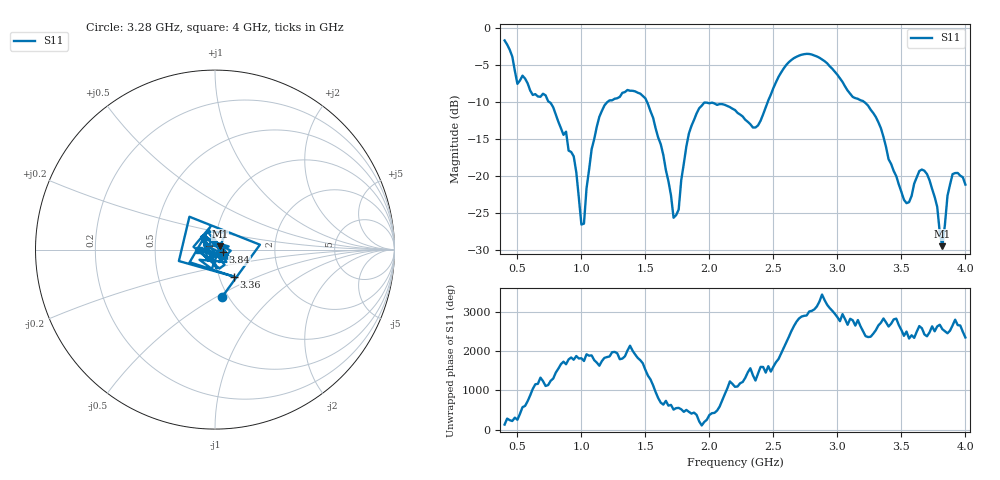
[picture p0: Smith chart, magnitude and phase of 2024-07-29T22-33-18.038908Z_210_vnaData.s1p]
!Created with skrf (http://scikit-rf.org).
# Hz S RI R 50.0
!freq ReS11 ImS11
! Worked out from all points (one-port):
!   181 points, 400 MHz to 4 GHz, reference 50 ohm
!   lowest |S11| = -29.5 dB at 3.82 GHz (marker M1), VSWR 1.07, Z = 52.8 + j2 ohm
!   |S11| at or under -10 dB: 752.4 MHz to 1.2 GHz (447.5 MHz wide, 45.8 % of centre); 1.514 GHz to 2.455 GHz (940.5 MHz wide, 47.4 % of centre); 3.213 GHz to end of sweep
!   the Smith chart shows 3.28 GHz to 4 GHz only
!   S11 on the Smith chart (normalised r, x): 3.28 GHz: 0.93, -0.53; 3.36 GHz: 1.18, -0.37; 3.84 GHz: 1.09, -0.03; 4 GHz: 0.84, -0.01
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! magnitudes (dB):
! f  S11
! 400 MHz  -1.6
! 500 MHz  -7.5
! 720 MHz  -9.1
! 860 MHz  -14.4
! 940 MHz  -17.3
! 1 GHz  -26.5
! 1.02 GHz  -26.4
! 1.08 GHz  -16.3
! 1.14 GHz  -12.0
! 1.3 GHz  -9.3
! 1.5 GHz  -9.5
! 1.64 GHz  -17.1
! 1.72 GHz  -25.6
! 1.76 GHz  -24.5
! 1.84 GHz  -14.2
! 1.92 GHz  -10.8
! 2.2 GHz  -11.0
! 2.38 GHz  -13.1
! 2.66 GHz  -4.0
! 3.1 GHz  -8.8
! 3.28 GHz  -11.4
! 3.36 GHz  -14.7
! 3.56 GHz  -23.5
! 3.7 GHz  -19.7
! 3.82 GHz  -29.5
! 3.84 GHz  -26.6
! 3.9 GHz  -19.7
! 4 GHz  -21.1
